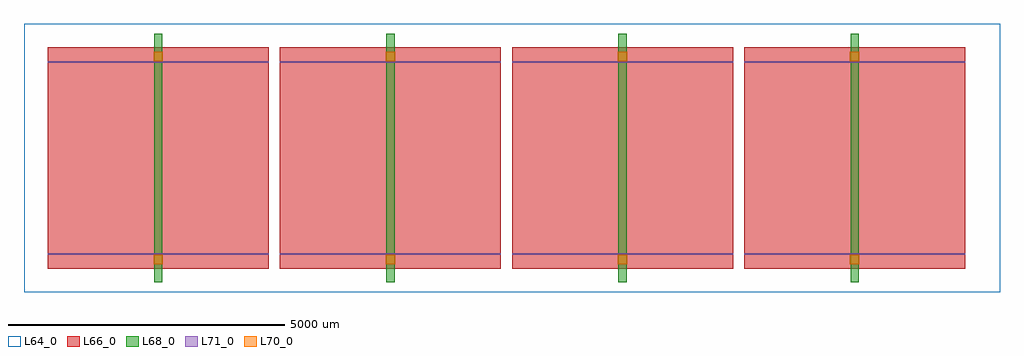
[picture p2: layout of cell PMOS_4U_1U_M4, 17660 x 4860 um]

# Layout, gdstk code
import gdstk
lib = gdstk.Library(unit=1e-6, precision=1e-09)
def R(c, l, rs):  # rectangles x0, y0, x1, y1
    for r in rs: c.add(gdstk.rectangle(r[:2], r[2:], *l))
def A(c, l, x, y, w, h, nx, ny, dx, dy):  # array of equal rectangles
    R(c, l, [(x+i*dx, y+j*dy, x+i*dx+w, y+j*dy+h) for i in range(nx) for j in range(ny)])
L64_0 = (64, 0)
L66_0 = (66, 0)
L68_0 = (68, 0)
L70_0 = (70, 0)
L71_0 = (71, 0)

pmos_4u_1u_m4 = lib.new_cell('PMOS_4U_1U_M4')
R(pmos_4u_1u_m4, L64_0, [(-430,-2430,17230,2430)])
A(pmos_4u_1u_m4, L66_0, 0, -2000, 4000, 4000, 4, 1, 4200, 0)
A(pmos_4u_1u_m4, L68_0, 1925, -2250, 150, 4500, 4, 1, 4200, 0)
A(pmos_4u_1u_m4, L70_0, 1915, -1920, 170, 170, 4, 2, 4200, 3670)
A(pmos_4u_1u_m4, L71_0, 0, -1750, 4000, 30, 4, 2, 4200, 3470)

lib.write_gds('PMOS_4U_1U_M4.gds')
